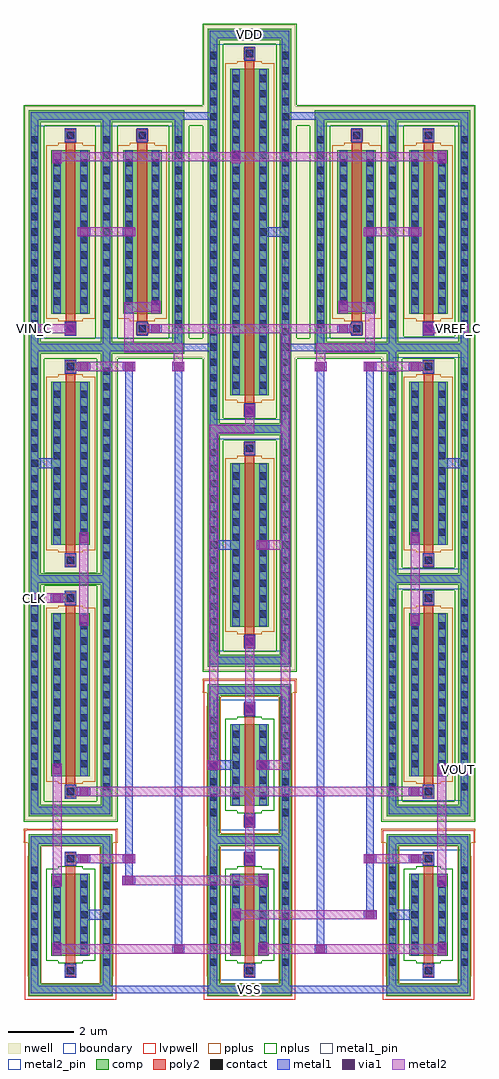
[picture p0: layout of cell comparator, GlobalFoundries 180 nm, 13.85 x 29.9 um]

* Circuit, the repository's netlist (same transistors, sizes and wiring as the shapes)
* NGSPICE file created from comparator.ext - technology: gf180mcuD

.subckt comparator VSS VDD VIN_C CLK VREF_C VOUT
X0 VDD VSS a_1492_5905# VDD pfet_03v3 ad=4.4p pd=20.88u as=4.4p ps=20.88u w=10u l=0.3u
X1 VOUT CLK a_1492_1971# VSS nfet_03v3 ad=1.1p pd=5.88u as=1.1p ps=5.88u w=2.5u l=0.3u
X2 a_1640_3069# VOUT VDD VDD pfet_03v3 ad=2.2p pd=10.88u as=2.2p ps=10.88u w=5u l=0.3u
X3 a_1492_5905# VREF_C a_3393_5905# VDD pfet_03v3 ad=2.2p pd=10.88u as=2.2p ps=10.88u w=5u l=0.3u
X4 a_1492_1971# a_2014_5776# a_1640_5905# VDD pfet_03v3 ad=2.2p pd=10.88u as=2.2p ps=10.88u w=5u l=0.3u
X5 a_1640_5905# VIN_C a_1492_5905# VDD pfet_03v3 ad=2.2p pd=10.88u as=2.2p ps=10.88u w=5u l=0.3u
X6 a_3393_5905# a_2014_5776# VOUT VDD pfet_03v3 ad=2.2p pd=10.88u as=2.2p ps=10.88u w=5u l=0.3u
X7 VOUT CLK a_3685_3069# VDD pfet_03v3 ad=2.2p pd=10.88u as=2.2p ps=10.88u w=5u l=0.3u
X8 a_1640_3069# CLK a_1492_1971# VDD pfet_03v3 ad=2.2p pd=10.88u as=2.2p ps=10.88u w=5u l=0.3u
X9 a_2014_5776# CLK VDD VDD pfet_03v3 ad=2.2p pd=10.88u as=2.2p ps=10.88u w=5u l=0.3u
X10 a_2014_5776# CLK VSS VSS nfet_03v3 ad=1.1p pd=5.88u as=1.1p ps=5.88u w=2.5u l=0.3u
X11 VOUT a_1492_1971# VSS VSS nfet_03v3 ad=1.1p pd=5.88u as=1.1p ps=5.88u w=2.5u l=0.3u
X12 VSS VOUT a_1492_1971# VSS nfet_03v3 ad=1.1p pd=5.88u as=1.1p ps=5.88u w=2.5u l=0.3u
X13 VDD a_1492_1971# a_3685_3069# VDD pfet_03v3 ad=2.2p pd=10.88u as=2.2p ps=10.88u w=5u l=0.3u
.ends

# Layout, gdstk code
import gdstk
lib = gdstk.Library(unit=1e-6, precision=1e-09)
def R(c, l, rs):  # rectangles x0, y0, x1, y1
    for r in rs: c.add(gdstk.rectangle(r[:2], r[2:], *l))
def A(c, l, x, y, w, h, nx, ny, dx, dy):  # array of equal rectangles
    R(c, l, [(x+i*dx, y+j*dy, x+i*dx+w, y+j*dy+h) for i in range(nx) for j in range(ny)])
boundary = (0, 0)
nwell = (21, 0)
comp = (22, 0)
poly2 = (30, 0)
pplus = (31, 0)
nplus = (32, 0)
contact = (33, 0)
metal1 = (34, 0)
metal1_pin = (34, 10)
via1 = (35, 0)
metal2 = (36, 0)
metal2_pin = (36, 10)
lvpwell = (204, 0)

comparator = lib.new_cell('comparator')
A(comparator, boundary, 17.915, 14.595, 2.2, 6.5, 1, 3, 0, 7.09)
R(comparator, boundary, [(12.435,9.105,14.635,13.105), (17.915,9.105,20.115,13.105), (12.435,13.695,14.635,17.695), (12.435,19.185,14.635,25.685), (12.435,26.275,14.635,37.775), (6.95,28.775,9.15,35.275), (9.15,28.775,11.35,35.275), (15.715,28.775,17.915,35.275)])
A(comparator, nwell, 17.615, 14, 2.8, 7.69, 1, 3, 0, 7.09)
R(comparator, nwell, [(6.65,14,9.45,28.18), (12.135,18.59,14.935,26.28), (12.135,25.68,14.935,38.37), (6.65,28.18,9.45,35.87), (6.835,28.18,12.155,35.87), (8.85,28.18,11.65,35.87), (14.915,28.18,20,35.87), (15.415,28.18,18.215,35.87)])
A(comparator, comp, 6.77, 14.12, 2.56, 0.36, 1, 4, 0, 7.09)
A(comparator, comp, 6.77, 14.48, 0.36, 6.73, 1, 3, 0, 7.09)
A(comparator, comp, 8.97, 14.48, 0.36, 6.73, 1, 3, 0, 7.09)
A(comparator, comp, 17.735, 14.48, 0.36, 6.73, 1, 3, 0, 7.09)
A(comparator, comp, 19.935, 14.48, 0.36, 6.73, 1, 3, 0, 7.09)
A(comparator, comp, 7.46, 15.345, 1.18, 5, 1, 3, 0, 7.09)
A(comparator, comp, 18.425, 15.345, 1.18, 5, 1, 3, 0, 7.09)
R(comparator, comp, [(6.77,8.63,9.33,8.99), (12.255,8.63,14.815,8.99), (17.735,8.63,20.295,8.99), (6.77,8.99,7.13,13.22), (8.97,8.99,9.33,13.22), (12.255,8.99,12.615,13.22), (14.455,8.99,14.815,13.22), (17.735,8.99,18.095,13.22), (19.935,8.99,20.295,13.22), (7.46,9.855,8.64,12.355), (12.945,9.855,14.125,12.355), (18.425,9.855,19.605,12.355), (6.77,13.22,9.33,13.58), (12.255,13.22,14.815,13.58), (12.255,13.22,14.815,13.58), (17.735,13.22,20.295,13.58), (12.255,13.58,12.615,17.81), (14.455,13.58,14.815,17.81), (17.735,14.12,20.295,14.48), (12.945,14.445,14.125,16.945), (12.255,17.81,14.815,18.17), (12.255,18.71,14.815,19.07), (12.255,19.07,12.615,25.8), (14.455,19.07,14.815,25.8), (12.945,19.935,14.125,24.935), (17.735,21.21,20.295,21.57), (17.735,21.21,20.295,21.57), (12.255,25.8,14.815,26.16), (12.255,25.8,14.815,26.16), (12.255,26.16,12.615,37.89), (14.455,26.16,14.815,37.89), (12.945,27.025,14.125,37.025), (6.77,28.3,11.53,28.66), (8.97,28.3,11.53,28.66), (15.535,28.3,18.095,28.66), (17.735,28.3,20.295,28.66), (17.735,28.3,20.295,28.66), (6.77,28.66,7.13,35.39), (8.97,28.66,9.33,35.39), (8.97,28.66,9.33,35.39), (11.17,28.66,11.53,35.39), (11.17,28.66,11.53,35.39), (15.535,28.66,15.895,35.39), (17.735,28.66,18.095,35.39), (7.46,29.525,8.64,34.525), (9.66,29.525,10.84,34.525), (9.66,29.525,10.84,34.525), (16.225,29.525,17.405,34.525), (6.77,35.39,11.53,35.75), (8.97,35.39,11.53,35.75), (15.535,35.39,18.095,35.75), (17.735,35.39,20.295,35.75), (12.255,37.89,14.815,38.25)])
A(comparator, poly2, 7.9, 15.06, 0.3, 5.57, 1, 3, 0, 7.09)
A(comparator, poly2, 18.865, 15.06, 0.3, 5.57, 1, 3, 0, 7.09)
R(comparator, poly2, [(7.87,9.21,8.23,9.57), (13.355,9.21,13.715,9.57), (18.835,9.21,19.195,9.57), (7.9,9.57,8.2,12.64), (13.385,9.57,13.685,12.64), (18.865,9.57,19.165,12.64), (7.87,12.64,8.23,13), (13.355,12.64,13.715,13), (18.835,12.64,19.195,13), (13.355,13.8,13.715,14.16), (13.385,14.16,13.685,17.23), (7.87,14.7,8.23,15.06), (18.835,14.7,19.195,15.06), (13.355,17.23,13.715,17.59), (13.355,19.29,13.715,19.65), (13.385,19.65,13.685,25.22), (7.87,20.63,8.23,20.99), (18.835,20.63,19.195,20.99), (7.87,21.79,8.23,22.15), (18.835,21.79,19.195,22.15), (13.355,25.22,13.715,25.58), (13.355,26.38,13.715,26.74), (13.385,26.74,13.685,37.31), (7.87,27.72,8.23,28.08), (18.835,27.72,19.195,28.08), (7.87,28.88,8.23,29.24), (7.87,28.88,8.23,29.24), (10.07,28.88,10.43,29.24), (10.07,28.88,10.43,29.24), (16.635,28.88,16.995,29.24), (18.835,28.88,19.195,29.24), (7.9,29.24,8.2,34.81), (10.1,29.24,10.4,34.81), (10.1,29.24,10.4,34.81), (16.665,29.24,16.965,34.81), (7.87,34.81,8.23,35.17), (7.87,34.81,8.23,35.17), (10.07,34.81,10.43,35.17), (10.07,34.81,10.43,35.17), (16.635,34.81,16.995,35.17), (18.835,34.81,19.195,35.17), (13.355,37.31,13.715,37.67)])
A(comparator, pplus, 7.3, 15.185, 1.5, 5.32, 1, 3, 0, 7.09)
A(comparator, pplus, 18.265, 15.185, 1.5, 5.32, 1, 3, 0, 7.09)
R(comparator, pplus, [(6.75,8.61,9.35,9.01), (12.235,8.61,14.835,9.01), (17.715,8.61,20.315,9.01), (6.75,9.01,7.16,9.225), (8.94,9.01,9.35,9.225), (12.235,9.01,12.645,9.225), (14.425,9.01,14.835,9.225), (17.715,9.01,18.125,9.225), (19.905,9.01,20.315,9.225), (6.74,9.225,7.16,12.9), (8.94,9.225,9.36,12.9), (12.225,9.225,12.645,12.9), (14.425,9.225,14.845,12.9), (17.705,9.225,18.125,12.9), (19.905,9.225,20.325,12.9), (6.75,12.9,7.16,13.2), (8.94,12.9,9.35,13.2), (12.235,12.9,12.645,13.2), (14.425,12.9,14.835,13.2), (17.715,12.9,18.125,13.2), (19.905,12.9,20.315,13.2), (6.75,13.2,9.35,13.41), (12.235,13.2,14.835,13.6), (12.235,13.2,14.835,13.6), (17.715,13.2,20.315,13.6), (6.61,13.31,9.49,13.74), (17.575,13.31,20.455,13.74), (6.61,13.41,9.49,13.74), (17.575,13.41,17.715,13.6), (20.315,13.41,20.455,13.6), (12.235,13.6,12.645,13.815), (14.425,13.6,14.835,13.815), (17.575,13.6,20.455,13.74), (12.225,13.815,12.645,17.49), (14.425,13.815,14.845,17.49), (7.67,15.115,8.43,15.185), (18.635,15.115,19.395,15.185), (12.235,17.49,12.645,17.79), (14.425,17.49,14.835,17.79), (12.235,17.79,14.835,18.19), (12.095,17.9,14.975,18.33), (12.095,18,12.235,18.19), (14.835,18,14.975,18.19), (12.095,18.19,14.975,18.33), (13.155,19.705,13.915,19.775), (12.785,19.775,14.285,25.095), (7.67,20.505,8.43,20.575), (18.635,20.505,19.395,20.575), (7.67,22.205,8.43,22.275), (18.635,22.205,19.395,22.275), (13.155,25.095,13.915,25.165), (13.155,26.795,13.915,26.865), (12.785,26.865,14.285,37.185), (7.67,27.595,8.43,27.665), (18.635,27.595,19.395,27.665), (7.67,29.295,8.43,29.365), (7.67,29.295,8.43,29.365), (9.87,29.295,10.63,29.365), (9.87,29.295,10.63,29.365), (16.435,29.295,17.195,29.365), (18.635,29.295,19.395,29.365), (7.3,29.365,8.8,34.685), (9.5,29.365,11,34.685), (9.5,29.365,11,34.685), (16.065,29.365,17.565,34.685), (7.67,34.685,8.43,34.755), (7.67,34.685,8.43,34.755), (9.87,34.685,10.63,34.755), (9.87,34.685,10.63,34.755), (16.435,34.685,17.195,34.755), (18.635,34.685,19.395,34.755), (13.155,37.185,13.915,37.255)])
A(comparator, nplus, 17.575, 14.59, 0.63, 6.51, 1, 3, 0, 7.09)
A(comparator, nplus, 19.825, 14.59, 0.63, 6.51, 1, 3, 0, 7.09)
R(comparator, nplus, [(7.67,9.625,8.43,9.695), (13.155,9.625,13.915,9.695), (18.635,9.625,19.395,9.695), (7.3,9.695,8.8,12.515), (12.785,9.695,14.285,12.515), (18.265,9.695,19.765,12.515), (7.67,12.515,8.43,12.585), (13.155,12.515,13.915,12.585), (18.635,12.515,19.395,12.585), (6.61,13.96,9.49,14.59), (17.575,13.96,20.455,14.59), (13.155,14.215,13.915,14.285), (12.785,14.285,14.285,17.105), (6.61,14.59,7.24,21.19), (8.86,14.59,9.49,21.19), (13.155,17.105,13.915,17.175), (12.095,18.55,14.975,19.18), (12.095,19.18,12.725,25.69), (14.345,19.18,14.975,25.69), (17.575,21.05,20.455,21.68), (17.575,21.1,20.455,21.73), (6.61,21.19,9.49,21.59), (6.61,21.59,7.24,28.28), (8.86,21.59,9.49,28.14), (12.095,25.64,14.975,26.27), (12.095,25.69,14.975,26.32), (12.095,26.27,12.725,37.78), (14.345,26.27,14.975,37.78), (6.61,28.14,9.49,28.77), (8.81,28.14,11.69,28.77), (9.045,28.14,12.095,28.28), (14.975,28.14,20,28.77), (15.375,28.14,18.255,28.77), (17.575,28.14,20.455,28.77), (17.575,28.19,20.455,28.82), (6.795,28.28,12.095,28.68), (6.61,28.68,7.24,35.28), (9.045,28.68,12.095,28.77), (6.61,28.77,7.24,35.28), (8.81,28.77,9.44,35.28), (8.86,28.77,9.49,35.28), (8.94,28.77,9.36,35.28), (11.06,28.77,11.69,35.28), (11.14,28.77,11.56,35.28), (15.375,28.77,16.005,35.28), (17.625,28.77,18.255,35.28), (6.61,35.28,9.49,35.91), (6.795,35.28,12.095,35.91), (8.81,35.28,11.69,35.91), (14.975,35.28,20,35.91), (15.375,35.28,18.255,35.91), (17.575,35.28,20.455,35.91), (12.095,37.78,14.975,38.41)])
A(comparator, contact, 6.84, 9.54, 0.22, 0.22, 1, 7, 0, 0.47)
A(comparator, contact, 9.04, 9.54, 0.22, 0.22, 1, 7, 0, 0.47)
A(comparator, contact, 12.325, 9.54, 0.22, 0.22, 1, 7, 0, 0.47)
A(comparator, contact, 14.525, 9.54, 0.22, 0.22, 1, 7, 0, 0.47)
A(comparator, contact, 17.805, 9.54, 0.22, 0.22, 1, 7, 0, 0.47)
A(comparator, contact, 20.005, 9.54, 0.22, 0.22, 1, 7, 0, 0.47)
A(comparator, contact, 7.53, 10.055, 0.22, 0.22, 1, 5, 0, 0.47)
A(comparator, contact, 8.35, 10.055, 0.22, 0.22, 1, 5, 0, 0.47)
A(comparator, contact, 13.015, 10.055, 0.22, 0.22, 1, 5, 0, 0.47)
A(comparator, contact, 13.835, 10.055, 0.22, 0.22, 1, 5, 0, 0.47)
A(comparator, contact, 18.495, 10.055, 0.22, 0.22, 1, 5, 0, 0.47)
A(comparator, contact, 19.315, 10.055, 0.22, 0.22, 1, 5, 0, 0.47)
A(comparator, contact, 12.325, 14.13, 0.22, 0.22, 1, 7, 0, 0.47)
A(comparator, contact, 14.525, 14.13, 0.22, 0.22, 1, 7, 0, 0.47)
A(comparator, contact, 13.015, 14.645, 0.22, 0.22, 1, 5, 0, 0.47)
A(comparator, contact, 13.835, 14.645, 0.22, 0.22, 1, 5, 0, 0.47)
A(comparator, contact, 6.84, 14.915, 0.22, 0.22, 1, 13, 0, 0.47)
A(comparator, contact, 9.04, 14.915, 0.22, 0.22, 1, 13, 0, 0.47)
A(comparator, contact, 17.805, 14.915, 0.22, 0.22, 1, 13, 0, 0.47)
A(comparator, contact, 20.005, 14.915, 0.22, 0.22, 1, 13, 0, 0.47)
A(comparator, contact, 7.53, 15.62, 0.22, 0.22, 1, 10, 0, 0.47)
A(comparator, contact, 8.35, 15.62, 0.22, 0.22, 1, 10, 0, 0.47)
A(comparator, contact, 18.495, 15.62, 0.22, 0.22, 1, 10, 0, 0.47)
A(comparator, contact, 19.315, 15.62, 0.22, 0.22, 1, 10, 0, 0.47)
A(comparator, contact, 12.325, 19.505, 0.22, 0.22, 1, 13, 0, 0.47)
A(comparator, contact, 14.525, 19.505, 0.22, 0.22, 1, 13, 0, 0.47)
A(comparator, contact, 13.015, 20.21, 0.22, 0.22, 1, 10, 0, 0.47)
A(comparator, contact, 13.835, 20.21, 0.22, 0.22, 1, 10, 0, 0.47)
A(comparator, contact, 6.84, 22.005, 0.22, 0.22, 1, 13, 0, 0.47)
A(comparator, contact, 9.04, 22.005, 0.22, 0.22, 1, 13, 0, 0.47)
A(comparator, contact, 17.805, 22.005, 0.22, 0.22, 1, 13, 0, 0.47)
A(comparator, contact, 20.005, 22.005, 0.22, 0.22, 1, 13, 0, 0.47)
A(comparator, contact, 7.53, 22.71, 0.22, 0.22, 1, 10, 0, 0.47)
A(comparator, contact, 8.35, 22.71, 0.22, 0.22, 1, 10, 0, 0.47)
A(comparator, contact, 18.495, 22.71, 0.22, 0.22, 1, 10, 0, 0.47)
A(comparator, contact, 19.315, 22.71, 0.22, 0.22, 1, 10, 0, 0.47)
A(comparator, contact, 12.325, 26.51, 0.22, 0.22, 1, 24, 0, 0.47)
A(comparator, contact, 14.525, 26.51, 0.22, 0.22, 1, 24, 0, 0.47)
A(comparator, contact, 13.015, 27.215, 0.22, 0.22, 1, 21, 0, 0.47)
A(comparator, contact, 13.835, 27.215, 0.22, 0.22, 1, 21, 0, 0.47)
A(comparator, contact, 15.605, 29.095, 0.22, 0.22, 1, 13, 0, 0.47)
A(comparator, contact, 20.005, 29.095, 0.22, 0.22, 1, 13, 0, 0.47)
A(comparator, contact, 16.295, 29.8, 0.22, 0.22, 1, 10, 0, 0.47)
A(comparator, contact, 17.115, 29.8, 0.22, 0.22, 1, 10, 0, 0.47)
A(comparator, contact, 18.495, 29.8, 0.22, 0.22, 1, 10, 0, 0.47)
A(comparator, contact, 19.315, 29.8, 0.22, 0.22, 1, 10, 0, 0.47)
R(comparator, contact, [(7.94,9.28,8.16,9.5), (13.425,9.28,13.645,9.5), (18.905,9.28,19.125,9.5), (7.94,12.71,8.16,12.93), (13.425,12.71,13.645,12.93), (18.905,12.71,19.125,12.93), (13.425,13.87,13.645,14.09), (7.94,14.77,8.16,14.99), (18.905,14.77,19.125,14.99), (13.425,17.3,13.645,17.52), (13.425,19.36,13.645,19.58), (7.94,20.7,8.16,20.92), (18.905,20.7,19.125,20.92), (7.94,21.86,8.16,22.08), (18.905,21.86,19.125,22.08), (13.425,25.29,13.645,25.51), (13.425,26.45,13.645,26.67), (7.94,27.79,8.16,28.01), (18.905,27.79,19.125,28.01), (7.94,28.95,8.16,29.17), (7.94,28.95,8.16,29.17), (10.14,28.95,10.36,29.17), (10.14,28.95,10.36,29.17), (16.705,28.95,16.925,29.17), (18.905,28.95,19.125,29.17), (6.84,29.095,7.06,29.315), (6.84,29.095,7.06,29.315), (9.04,29.095,9.26,29.315), (9.04,29.095,9.26,29.315), (9.04,29.095,9.26,29.315), (11.24,29.095,11.46,29.315), (11.24,29.095,11.46,29.315), (17.805,29.095,18.025,29.315), (17.805,29.095,18.025,29.315), (6.84,29.565,7.06,29.785), (6.84,29.565,7.06,29.785), (9.04,29.565,9.26,29.785), (9.04,29.565,9.26,29.785), (9.04,29.565,9.26,29.785), (11.24,29.565,11.46,29.785), (11.24,29.565,11.46,29.785), (17.805,29.565,18.025,29.785), (17.805,29.565,18.025,29.785), (7.53,29.8,7.75,30.02), (7.53,29.8,7.75,30.02), (8.35,29.8,8.57,30.02), (8.35,29.8,8.57,30.02), (9.73,29.8,9.95,30.02), (9.73,29.8,9.95,30.02), (10.55,29.8,10.77,30.02), (10.55,29.8,10.77,30.02), (6.84,30.035,7.06,30.255), (6.84,30.035,7.06,30.255), (9.04,30.035,9.26,30.255), (9.04,30.035,9.26,30.255), (9.04,30.035,9.26,30.255), (11.24,30.035,11.46,30.255), (11.24,30.035,11.46,30.255), (17.805,30.035,18.025,30.255), (17.805,30.035,18.025,30.255), (7.53,30.27,7.75,30.49), (7.53,30.27,7.75,30.49), (8.35,30.27,8.57,30.49), (8.35,30.27,8.57,30.49), (9.73,30.27,9.95,30.49), (9.73,30.27,9.95,30.49), (10.55,30.27,10.77,30.49), (10.55,30.27,10.77,30.49), (6.84,30.505,7.06,30.725), (6.84,30.505,7.06,30.725), (9.04,30.505,9.26,30.725), (9.04,30.505,9.26,30.725), (9.04,30.505,9.26,30.725), (11.24,30.505,11.46,30.725), (11.24,30.505,11.46,30.725), (17.805,30.505,18.025,30.725), (17.805,30.505,18.025,30.725), (7.53,30.74,7.75,30.96), (7.53,30.74,7.75,30.96), (8.35,30.74,8.57,30.96), (8.35,30.74,8.57,30.96), (9.73,30.74,9.95,30.96), (9.73,30.74,9.95,30.96), (10.55,30.74,10.77,30.96), (10.55,30.74,10.77,30.96), (6.84,30.975,7.06,31.195), (6.84,30.975,7.06,31.195), (9.04,30.975,9.26,31.195), (9.04,30.975,9.26,31.195), (9.04,30.975,9.26,31.195), (11.24,30.975,11.46,31.195), (11.24,30.975,11.46,31.195), (17.805,30.975,18.025,31.195), (17.805,30.975,18.025,31.195), (7.53,31.21,7.75,31.43), (7.53,31.21,7.75,31.43), (8.35,31.21,8.57,31.43), (8.35,31.21,8.57,31.43), (9.73,31.21,9.95,31.43), (9.73,31.21,9.95,31.43), (10.55,31.21,10.77,31.43), (10.55,31.21,10.77,31.43), (6.84,31.445,7.06,31.665), (6.84,31.445,7.06,31.665), (9.04,31.445,9.26,31.665), (9.04,31.445,9.26,31.665), (9.04,31.445,9.26,31.665), (11.24,31.445,11.46,31.665), (11.24,31.445,11.46,31.665), (17.805,31.445,18.025,31.665), (17.805,31.445,18.025,31.665), (7.53,31.68,7.75,31.9), (7.53,31.68,7.75,31.9), (8.35,31.68,8.57,31.9), (8.35,31.68,8.57,31.9), (9.73,31.68,9.95,31.9), (9.73,31.68,9.95,31.9), (10.55,31.68,10.77,31.9), (10.55,31.68,10.77,31.9), (6.84,31.915,7.06,32.135), (6.84,31.915,7.06,32.135), (9.04,31.915,9.26,32.135), (9.04,31.915,9.26,32.135), (9.04,31.915,9.26,32.135), (11.24,31.915,11.46,32.135), (11.24,31.915,11.46,32.135), (17.805,31.915,18.025,32.135), (17.805,31.915,18.025,32.135), (7.53,32.15,7.75,32.37), (7.53,32.15,7.75,32.37), (8.35,32.15,8.57,32.37), (8.35,32.15,8.57,32.37), (9.73,32.15,9.95,32.37), (9.73,32.15,9.95,32.37), (10.55,32.15,10.77,32.37), (10.55,32.15,10.77,32.37), (6.84,32.385,7.06,32.605), (6.84,32.385,7.06,32.605), (9.04,32.385,9.26,32.605), (9.04,32.385,9.26,32.605), (9.04,32.385,9.26,32.605), (11.24,32.385,11.46,32.605), (11.24,32.385,11.46,32.605), (17.805,32.385,18.025,32.605), (17.805,32.385,18.025,32.605), (7.53,32.62,7.75,32.84), (7.53,32.62,7.75,32.84), (8.35,32.62,8.57,32.84), (8.35,32.62,8.57,32.84), (9.73,32.62,9.95,32.84), (9.73,32.62,9.95,32.84), (10.55,32.62,10.77,32.84), (10.55,32.62,10.77,32.84), (6.84,32.855,7.06,33.075), (6.84,32.855,7.06,33.075), (9.04,32.855,9.26,33.075), (9.04,32.855,9.26,33.075), (9.04,32.855,9.26,33.075), (11.24,32.855,11.46,33.075), (11.24,32.855,11.46,33.075), (17.805,32.855,18.025,33.075), (17.805,32.855,18.025,33.075), (7.53,33.09,7.75,33.31), (7.53,33.09,7.75,33.31), (8.35,33.09,8.57,33.31), (8.35,33.09,8.57,33.31), (9.73,33.09,9.95,33.31), (9.73,33.09,9.95,33.31), (10.55,33.09,10.77,33.31), (10.55,33.09,10.77,33.31), (6.84,33.325,7.06,33.545), (6.84,33.325,7.06,33.545), (9.04,33.325,9.26,33.545), (9.04,33.325,9.26,33.545), (9.04,33.325,9.26,33.545), (11.24,33.325,11.46,33.545), (11.24,33.325,11.46,33.545), (17.805,33.325,18.025,33.545), (17.805,33.325,18.025,33.545), (7.53,33.56,7.75,33.78), (7.53,33.56,7.75,33.78), (8.35,33.56,8.57,33.78), (8.35,33.56,8.57,33.78), (9.73,33.56,9.95,33.78), (9.73,33.56,9.95,33.78), (10.55,33.56,10.77,33.78), (10.55,33.56,10.77,33.78), (6.84,33.795,7.06,34.015), (6.84,33.795,7.06,34.015), (9.04,33.795,9.26,34.015), (9.04,33.795,9.26,34.015), (9.04,33.795,9.26,34.015), (11.24,33.795,11.46,34.015), (11.24,33.795,11.46,34.015), (17.805,33.795,18.025,34.015), (17.805,33.795,18.025,34.015), (7.53,34.03,7.75,34.25), (7.53,34.03,7.75,34.25), (8.35,34.03,8.57,34.25), (8.35,34.03,8.57,34.25), (9.73,34.03,9.95,34.25), (9.73,34.03,9.95,34.25), (10.55,34.03,10.77,34.25), (10.55,34.03,10.77,34.25), (6.84,34.265,7.06,34.485), (6.84,34.265,7.06,34.485), (9.04,34.265,9.26,34.485), (9.04,34.265,9.26,34.485), (9.04,34.265,9.26,34.485), (11.24,34.265,11.46,34.485), (11.24,34.265,11.46,34.485), (17.805,34.265,18.025,34.485), (17.805,34.265,18.025,34.485), (6.84,34.735,7.06,34.955), (6.84,34.735,7.06,34.955), (9.04,34.735,9.26,34.955), (9.04,34.735,9.26,34.955), (9.04,34.735,9.26,34.955), (11.24,34.735,11.46,34.955), (11.24,34.735,11.46,34.955), (17.805,34.735,18.025,34.955), (17.805,34.735,18.025,34.955), (7.94,34.88,8.16,35.1), (7.94,34.88,8.16,35.1), (10.14,34.88,10.36,35.1), (10.14,34.88,10.36,35.1), (16.705,34.88,16.925,35.1), (18.905,34.88,19.125,35.1), (13.425,37.38,13.645,37.6)])
A(comparator, metal1, 6.835, 14.185, 2.43, 0.23, 1, 4, 0, 7.09)
A(comparator, metal1, 9.035, 14.415, 0.23, 6.86, 1, 3, 0, 7.09)
A(comparator, metal1, 17.8, 14.415, 0.23, 6.86, 1, 3, 0, 7.09)
A(comparator, metal1, 20, 14.415, 0.23, 6.86, 1, 3, 0, 7.09)
A(comparator, metal1, 18.49, 15.355, 0.23, 4.98, 1, 3, 0, 7.09)
A(comparator, metal1, 19.31, 15.355, 0.23, 4.98, 1, 3, 0, 7.09)
R(comparator, metal1, [(6.835,8.695,7.02,8.925), (7.02,8.695,18.91,8.925), (12.32,8.695,14.75,8.925), (17.8,8.695,20.23,8.925), (6.835,8.925,7.065,13.285), (9.035,8.925,9.265,10.955), (12.32,8.925,12.55,13.285), (14.52,8.925,14.75,13.285), (17.8,8.925,18.03,13.285), (20,8.925,20.23,13.285), (7.88,9.175,8.22,9.605), (13.365,9.175,13.705,9.605), (18.845,9.175,19.185,9.605), (7.51,9.865,7.77,10.245), (8.345,9.865,8.575,10.955), (12.995,9.865,13.255,10.245), (13.01,9.865,13.24,12.345), (13.815,9.865,14.075,10.245), (13.83,9.865,14.06,12.345), (18.49,9.865,18.72,12.345), (19.295,9.865,19.555,10.245), (19.31,9.865,19.54,12.345), (11.16,9.925,11.54,10.185), (15.525,9.925,15.905,10.185), (11.235,10.185,11.465,27.77), (15.6,10.185,15.83,27.77), (7.525,10.245,7.755,11.965), (12.995,10.915,13.27,11.295), (8.345,10.955,9.265,11.255), (17.895,10.955,18.5,11.255), (17.035,10.975,17.415,11.235), (17.11,11.235,17.34,12.69), (8.345,11.255,8.575,12.345), (9.035,11.255,9.265,13.285), (7.51,11.965,7.77,12.345), (13.815,11.965,14.075,12.345), (19.295,11.965,19.555,12.345), (9.65,12.025,10.03,12.285), (9.725,12.285,9.955,12.69), (7.88,12.605,8.22,12.69), (13.365,12.605,13.705,13.035), (18.845,12.605,19.185,13.035), (7.88,12.69,8.65,12.95), (9.65,12.69,10.03,12.95), (13.405,12.69,13.665,12.95), (17.035,12.69,17.415,12.95), (18.415,12.69,18.97,12.955), (7.88,12.95,8.22,13.035), (9.725,12.95,9.955,27.77), (17.11,12.95,17.34,27.77), (6.835,13.285,9.265,13.515), (12.32,13.285,14.75,13.515), (12.32,13.285,14.75,13.515), (17.8,13.285,20.23,13.515), (12.32,13.515,12.55,17.875), (14.52,13.515,14.75,17.875), (13.365,13.765,13.705,14.195), (13.405,13.85,13.665,14.11), (17.8,14.185,20.23,14.415), (6.835,14.415,7.065,21.275), (13.01,14.455,13.24,16.935), (13.83,14.455,14.06,16.935), (7.88,14.665,8.22,14.75), (18.845,14.665,19.185,15.095), (7.88,14.75,8.65,15.01), (18.415,14.75,18.87,15.01), (7.88,15.01,8.22,15.095), (7.51,15.355,7.77,15.735), (8.345,15.355,8.575,19.955), (19.295,15.355,19.555,15.735), (12.44,15.545,13.145,15.565), (12.245,15.565,13.145,15.695), (13.755,15.565,14.135,15.825), (12.245,15.695,13.15,15.825), (7.525,15.735,7.755,20.335), (12.445,15.825,13.15,15.845), (13.365,17.195,13.705,17.625), (13.405,17.28,13.665,17.54), (12.32,17.875,14.75,18.105), (12.32,18.775,14.75,19.005), (12.32,19.005,12.55,25.865), (14.52,19.005,14.75,25.865), (13.365,19.255,13.705,19.685), (13.405,19.34,13.665,19.6), (13.01,19.945,13.24,24.925), (13.83,19.945,14.06,24.925), (8.33,19.955,8.59,20.335), (18.475,19.955,18.735,20.335), (7.88,20.595,8.22,20.68), (18.845,20.595,19.185,21.025), (7.45,20.68,8.22,20.94), (7.88,20.94,8.22,21.025), (17.8,21.275,20.23,21.505), (17.8,21.275,20.23,21.505), (6.835,21.505,7.065,24.785), (7.88,21.755,8.22,22.185), (18.845,21.755,19.185,22.185), (12.425,22.285,13.14,22.435), (13.755,22.305,14.135,22.565), (12.43,22.435,13.145,22.585), (7.525,22.445,7.755,24.785), (8.33,22.445,8.59,22.825), (18.475,22.445,18.735,22.825), (8.345,22.825,8.575,27.425), (6.835,24.785,7.755,25.085), (19.51,24.785,20.06,25.085), (6.835,25.085,7.065,28.365), (7.525,25.085,7.755,27.425), (13.365,25.185,13.705,25.615), (12.32,25.865,14.75,26.095), (12.32,25.865,14.75,26.095), (12.32,26.095,12.55,37.955), (14.52,26.095,14.75,37.955), (13.365,26.345,13.705,26.775), (13.405,26.43,13.665,26.69), (13.01,27.035,13.24,37.015), (13.83,27.035,14.06,37.015), (7.88,27.685,8.22,27.77), (18.845,27.685,19.185,28.115), (7.88,27.77,8.65,28.03), (9.65,27.77,10.03,28.03), (11.16,27.77,11.54,28.03), (15.525,27.77,15.905,28.03), (17.035,27.77,17.415,28.03), (18.415,27.77,18.86,28.03), (7.88,28.03,8.22,28.115), (7.02,28.365,12.51,28.595), (9.035,28.365,11.465,28.595), (14.535,28.365,15.455,28.595), (15.455,28.365,15.6,28.595), (15.6,28.365,18.03,28.595), (17.8,28.365,20.23,28.595), (17.8,28.365,20.23,28.595), (6.835,28.595,7.065,35.455), (6.835,28.595,7.065,35.455), (9.035,28.595,9.265,35.455), (9.035,28.595,9.265,35.455), (11.235,28.595,11.465,35.455), (11.235,28.595,11.465,35.455), (15.6,28.595,15.83,35.455), (17.8,28.595,18.03,35.455), (7.88,28.845,8.22,29.275), (7.88,28.845,8.22,29.275), (10.08,28.845,10.42,29.275), (10.08,28.845,10.42,28.93), (16.645,28.845,16.985,29.275), (18.845,28.845,19.185,29.275), (10.08,28.93,10.85,29.19), (16.215,28.93,16.65,29.19), (16.65,28.93,16.985,29.19), (18.885,28.93,19.145,29.19), (10.08,29.19,10.42,29.275), (7.525,29.535,7.755,34.135), (7.525,29.535,7.755,34.515), (8.345,29.535,8.575,34.515), (8.345,29.535,8.575,31.895), (9.725,29.535,9.955,34.515), (9.725,29.535,9.955,31.895), (10.53,29.535,10.79,29.915), (10.545,29.535,10.775,34.515), (16.275,29.535,16.535,29.915), (16.29,29.535,16.52,34.515), (17.11,29.535,17.34,34.515), (10.545,29.915,10.775,34.515), (13.83,31.875,14.53,32.175), (8.27,31.895,8.65,32.155), (9.65,31.895,10.03,32.155), (17.035,31.895,17.415,32.155), (18.415,31.895,18.795,32.155), (8.345,32.155,8.575,34.515), (9.725,32.155,9.955,34.515), (7.51,34.135,7.77,34.515), (12.995,34.135,13.255,34.515), (19.295,34.135,19.555,34.515), (7.88,34.775,8.22,35.205), (7.88,34.775,8.22,35.205), (10.08,34.775,10.42,35.205), (10.08,34.775,10.42,35.205), (16.645,34.775,16.985,35.205), (18.845,34.775,19.185,35.205), (7.02,35.455,12.32,35.685), (9.035,35.455,11.465,35.685), (14.73,35.455,15.65,35.685), (15.6,35.455,18.03,35.685), (17.8,35.455,20.23,35.685), (13.365,37.275,13.705,37.705), (12.32,37.955,14.75,38.185), (13.42,37.955,13.65,38.185)])
R(comparator, metal1_pin, [(13.42,8.695,13.65,8.925), (13.42,37.955,13.65,38.185)])
R(comparator, via1, [(7.51,9.925,7.77,10.185), (11.22,9.925,11.48,10.185), (12.995,9.925,13.255,10.185), (13.815,9.925,14.075,10.185), (15.585,9.925,15.845,10.185), (19.295,9.925,19.555,10.185), (13,10.975,13.26,11.235), (17.095,10.975,17.355,11.235), (7.51,12.025,7.77,12.285), (9.71,12.025,9.97,12.285), (13.815,12.025,14.075,12.285), (19.295,12.025,19.555,12.285), (8.33,12.69,8.59,12.95), (9.71,12.69,9.97,12.95), (13.405,12.69,13.665,12.95), (17.095,12.69,17.355,12.95), (18.475,12.69,18.735,12.95), (13.405,13.85,13.665,14.11), (8.33,14.75,8.59,15.01), (18.475,14.75,18.735,15.01), (7.51,15.415,7.77,15.675), (19.295,15.415,19.555,15.675), (12.305,15.565,12.565,15.825), (13.815,15.565,14.075,15.825), (13.405,17.28,13.665,17.54), (13.405,19.34,13.665,19.6), (8.33,20.015,8.59,20.275), (18.475,20.015,18.735,20.275), (7.51,20.68,7.77,20.94), (13.815,22.305,14.075,22.565), (8.33,22.505,8.59,22.765), (18.475,22.505,18.735,22.765), (13.405,26.43,13.665,26.69), (8.33,27.77,8.59,28.03), (9.71,27.77,9.97,28.03), (11.22,27.77,11.48,28.03), (15.585,27.77,15.845,28.03), (17.095,27.77,17.355,28.03), (18.475,27.77,18.735,28.03), (7.92,28.93,8.18,29.19), (10.53,28.93,10.79,29.19), (16.275,28.93,16.535,29.19), (18.885,28.93,19.145,29.19), (10.53,29.595,10.79,29.855), (16.275,29.595,16.535,29.855), (8.33,31.895,8.59,32.155), (9.71,31.895,9.97,32.155), (17.095,31.895,17.355,32.155), (18.475,31.895,18.735,32.155), (7.51,34.195,7.77,34.455), (12.995,34.195,13.255,34.455), (19.295,34.195,19.555,34.455)])
R(comparator, metal2, [(7.5,9.865,7.78,9.915), (12.985,9.865,13.265,9.915), (13.805,9.865,14.085,9.915), (19.285,9.865,19.565,9.915), (7.5,9.915,7.685,10.195), (7.685,9.915,13.265,10.195), (13.805,9.915,19.385,10.195), (19.385,9.915,19.565,10.195), (7.5,10.195,7.78,10.245), (12.985,10.195,13.265,10.245), (13.805,10.195,14.085,10.245), (19.285,10.195,19.565,10.245), (12.985,10.915,13.28,10.965), (12.985,10.965,17.235,11.245), (17.235,10.965,17.425,11.245), (12.985,11.245,13.28,11.295), (7.5,11.965,7.78,15.735), (13.805,11.965,14.085,12.015), (19.285,11.965,19.565,15.405), (9.635,12.015,9.835,12.295), (9.835,12.015,14.085,12.295), (13.805,12.295,14.085,12.345), (13.395,12.63,13.675,14.74), (8.27,12.68,10.03,12.96), (17.035,12.68,18.795,12.96), (8.25,14.74,8.455,15.02), (8.455,14.74,18.615,15.02), (18.615,14.74,18.845,15.02), (19.285,15.405,20.255,15.685), (12.245,15.555,12.625,15.835), (13.755,15.555,14.775,15.835), (19.285,15.685,19.565,15.735), (12.295,15.835,12.575,25.84), (14.495,15.835,14.775,22.295), (13.395,17.22,13.675,19.66), (8.32,19.955,8.6,22.825), (18.465,19.955,18.745,22.825), (6.81,20.67,7.83,20.95), (13.755,22.295,14.775,22.575), (14.495,22.575,14.775,28.92), (12.295,25.84,13.675,26.12), (13.395,26.12,13.675,26.75), (8.27,27.76,10.03,28.04), (11.16,27.76,11.54,28.04), (15.525,27.76,15.905,28.04), (17.035,27.76,18.795,28.04), (11.21,28.04,11.49,28.34), (15.575,28.04,15.855,28.34), (9.7,28.34,11.49,28.62), (15.575,28.34,17.365,28.62), (9.7,28.62,9.98,29.585), (17.085,28.62,17.365,29.585), (7.91,28.87,8.19,28.92), (18.875,28.87,19.155,28.92), (6.81,28.92,8.19,29.2), (10.44,28.92,10.655,29.2), (10.655,28.92,16.415,29.2), (16.415,28.92,16.6,29.2), (18.875,28.92,20.255,29.2), (7.91,29.2,8.19,29.25), (18.875,29.2,19.155,29.25), (10.52,29.535,10.8,29.585), (16.265,29.535,16.545,29.585), (9.7,29.585,10.8,29.865), (16.265,29.585,17.365,29.865), (10.52,29.865,10.8,29.915), (16.265,29.865,16.545,29.915), (8.27,31.885,10.03,32.165), (17.035,31.885,18.795,32.165), (7.5,34.135,7.78,34.185), (12.985,34.135,13.265,34.185), (19.285,34.135,19.565,34.185), (7.5,34.185,7.685,34.465), (7.685,34.185,19.385,34.465), (19.385,34.185,19.565,34.465), (7.5,34.465,7.78,34.515), (12.985,34.465,13.265,34.515), (19.285,34.465,19.565,34.515)])
R(comparator, metal2_pin, [(19.795,15.405,20.075,15.685), (6.81,20.67,7.09,20.95), (6.81,28.92,7.09,29.2), (19.795,28.92,20.075,29.2)])
R(comparator, lvpwell, [(6.65,8.51,9.45,13.7), (12.135,8.51,14.935,13.7), (17.615,8.51,20.415,13.7), (12.135,13.1,14.935,18.29), (6.73,13.7,9.45,13.705)])
comparator.add(gdstk.Label('VSS', (13.535,8.81), layer=34, texttype=10))
comparator.add(gdstk.Label('VDD', (13.535,38.07), layer=34, texttype=10))
comparator.add(gdstk.Label('VIN_C', (6.95,29.06), layer=36, texttype=10))
comparator.add(gdstk.Label('CLK', (6.95,20.81), layer=36, texttype=10))
comparator.add(gdstk.Label('VREF_C', (19.935,29.06), layer=36, texttype=10))
comparator.add(gdstk.Label('VOUT', (19.935,15.545), layer=36, texttype=10))

lib.write_gds('comparator.gds')
